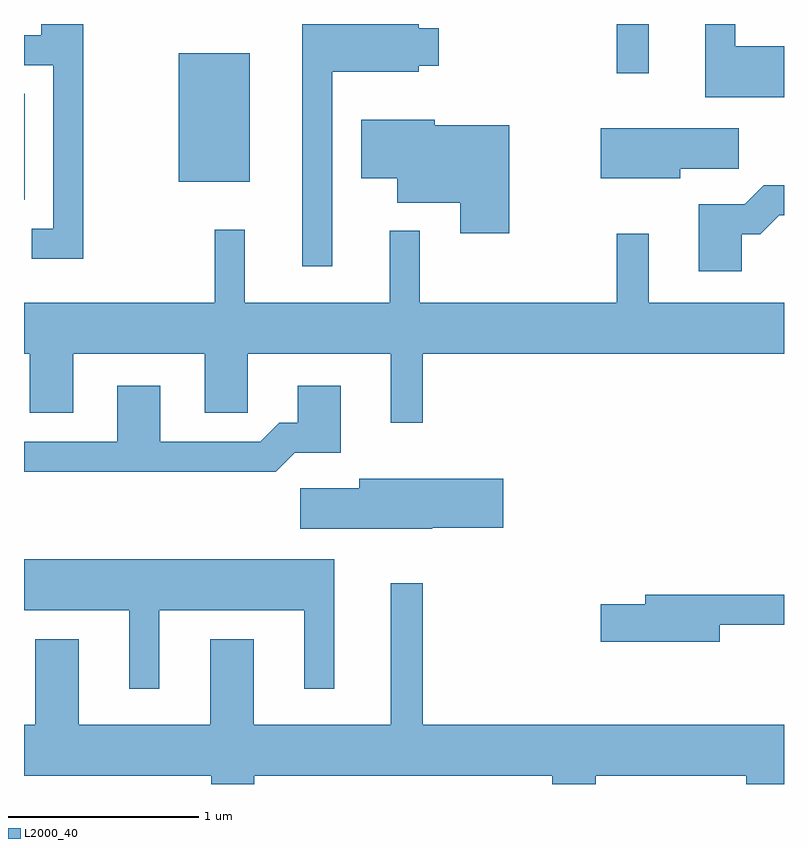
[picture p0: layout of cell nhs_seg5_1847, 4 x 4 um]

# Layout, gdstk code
import gdstk
lib = gdstk.Library(unit=1e-6, precision=1e-09)
def R(c, l, rs):  # rectangles x0, y0, x1, y1
    for r in rs: c.add(gdstk.rectangle(r[:2], r[2:], *l))
def P(c, l, *ps):  # polygons
    for p in ps: c.add(gdstk.Polygon(p, *l))
L2000_40 = (2000, 40)

nhs_seg5_1847 = lib.new_cell('nhs_seg5_1847')
R(nhs_seg5_1847, L2000_40, [(239.611,1473.146,239.614,1473.704), (240.426,1473.241,240.799,1473.919), (242.731,1473.813,242.899,1474.072)])
P(nhs_seg5_1847, L2000_40, [(239.924,1474.072),(239.701,1474.072),(239.701,1474.014),(239.611,1474.014),(239.611,1473.856),(239.766,1473.856),(239.766,1472.994),(239.653,1472.994),(239.653,1472.836),(239.924,1472.836)],
  [(243.611,1473.954),(243.354,1473.954),(243.354,1474.072),(243.196,1474.072),(243.196,1473.686),(243.611,1473.686)],
  [(241.234,1473.821),(241.689,1473.821),(241.689,1473.851),(241.794,1473.851),(241.794,1474.049),(241.689,1474.049),(241.689,1474.072),(241.076,1474.072),(241.076,1472.798),(241.234,1472.798)],
  [(242.164,1473.539),(241.774,1473.539),(241.774,1473.569),(241.386,1473.569),(241.386,1473.261),(241.576,1473.261),(241.576,1473.131),(241.906,1473.131),(241.906,1472.971),(242.164,1472.971)],
  [(243.064,1473.311),(243.374,1473.311),(243.374,1473.524),(242.646,1473.524),(242.646,1473.261),(243.064,1473.261)],
  [(243.389,1472.966),(243.487,1472.966),(243.587,1473.066),(243.611,1473.066),(243.611,1473.224),(243.504,1473.224),(243.404,1473.124),(243.161,1473.124),(243.161,1472.771),(243.389,1472.771)],
  [(241.709,1472.336),(243.611,1472.336),(243.611,1472.604),(242.899,1472.604),(242.899,1472.968),(242.731,1472.968),(242.731,1472.604),(241.694,1472.604),(241.694,1472.983),(241.536,1472.983),(241.536,1472.604),(240.774,1472.604),(240.774,1472.988),(240.616,1472.988),(240.616,1472.604),(239.611,1472.604),(239.611,1472.336),(239.641,1472.336),(239.641,1472.026),(239.869,1472.026),(239.869,1472.336),(240.561,1472.336),(240.561,1472.026),(240.789,1472.026),(240.789,1472.336),(241.541,1472.336),(241.541,1471.973),(241.709,1471.973)],
  [(241.037,1471.816),(241.279,1471.816),(241.279,1472.169),(241.051,1472.169),(241.051,1471.974),(240.954,1471.974),(240.854,1471.874),(240.329,1471.874),(240.329,1472.169),(240.101,1472.169),(240.101,1471.874),(239.611,1471.874),(239.611,1471.716),(240.937,1471.716)],
  [(241.76,1471.421),(242.134,1471.421),(242.134,1471.679),(241.376,1471.679),(241.376,1471.629),(241.066,1471.629),(241.066,1471.416),(241.76,1471.416)],
  [(240.324,1470.986),(241.086,1470.986),(241.086,1470.573),(241.244,1470.573),(241.244,1471.254),(239.611,1471.254),(239.611,1470.986),(240.166,1470.986),(240.166,1470.573),(240.324,1470.573)],
  [(240.824,1470.116),(242.391,1470.116),(242.391,1470.072),(242.619,1470.072),(242.619,1470.116),(243.411,1470.116),(243.411,1470.072),(243.611,1470.072),(243.611,1470.384),(241.709,1470.384),(241.709,1471.128),(241.541,1471.128),(241.541,1470.384),(240.819,1470.384),(240.819,1470.834),(240.591,1470.834),(240.591,1470.384),(239.899,1470.384),(239.899,1470.834),(239.671,1470.834),(239.671,1470.384),(239.611,1470.384),(239.611,1470.116),(240.596,1470.116),(240.596,1470.072),(240.824,1470.072)],
  [(243.274,1470.911),(243.611,1470.911),(243.611,1471.069),(242.881,1471.069),(242.881,1471.019),(242.646,1471.019),(242.646,1470.821),(243.274,1470.821)])

lib.write_gds('nhs_seg5_1847.gds')
